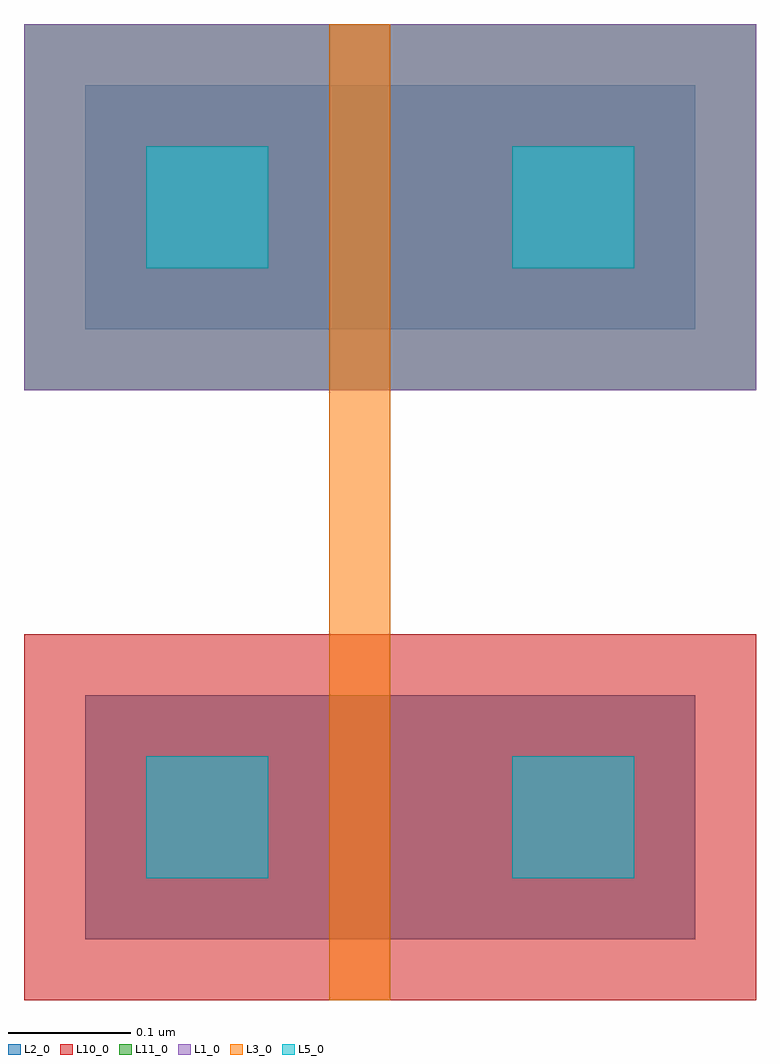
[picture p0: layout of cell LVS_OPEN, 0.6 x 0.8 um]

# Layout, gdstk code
import gdstk
lib = gdstk.Library(unit=1e-6, precision=1e-09)
def R(c, l, rs):  # rectangles x0, y0, x1, y1
    for r in rs: c.add(gdstk.rectangle(r[:2], r[2:], *l))
L1_0 = (1, 0)
L2_0 = (2, 0)
L3_0 = (3, 0)
L5_0 = (5, 0)
L10_0 = (10, 0)
L11_0 = (11, 0)

lvs_open = lib.new_cell('LVS_OPEN')
R(lvs_open, L1_0, [(-0.05,0.45,0.55,0.75)])
R(lvs_open, L2_0, [(0,0,0.5,0.2), (0,0.5,0.5,0.7)])
R(lvs_open, L3_0, [(0.2,-0.05,0.25,0.75)])
R(lvs_open, L5_0, [(0.05,0.05,0.15,0.15), (0.35,0.05,0.45,0.15), (0.05,0.55,0.15,0.65), (0.35,0.55,0.45,0.65)])
R(lvs_open, L10_0, [(-0.05,-0.05,0.55,0.25)])
R(lvs_open, L11_0, [(-0.05,0.45,0.55,0.75)])

lib.write_gds('LVS_OPEN.gds')
